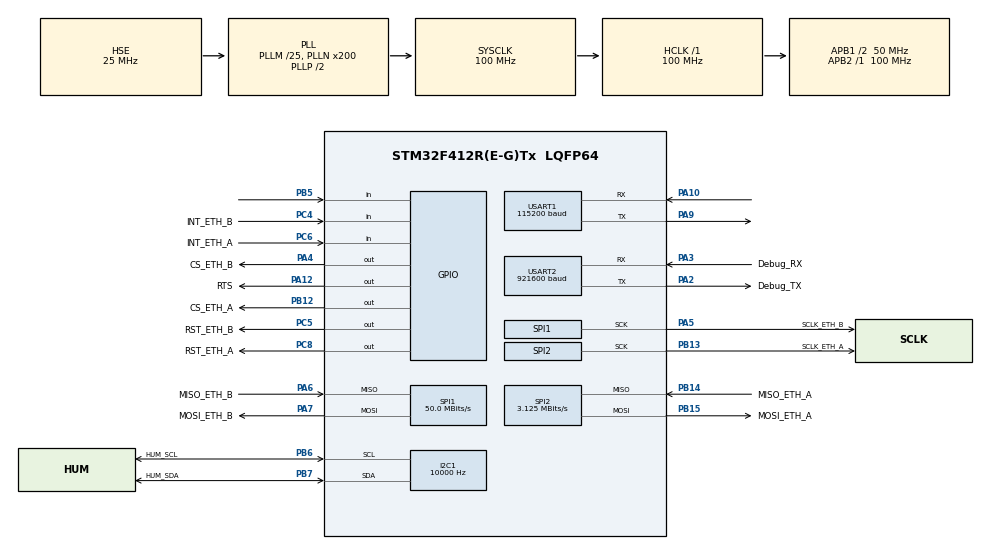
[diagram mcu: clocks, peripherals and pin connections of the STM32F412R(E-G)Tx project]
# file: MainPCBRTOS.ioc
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Dma.Request0=SPI2_RX
Dma.Request1=SPI1_RX
Dma.Request2=USART1_RX
Dma.SPI1_RX.1.Direction=DMA_PERIPH_TO_MEMORY
Dma.SPI1_RX.1.FIFOMode=DMA_FIFOMODE_DISABLE
Dma.SPI1_RX.1.Instance=DMA2_Stream0
Dma.SPI1_RX.1.MemDataAlignment=DMA_MDATAALIGN_BYTE
Dma.SPI1_RX.1.MemInc=DMA_MINC_ENABLE
Dma.SPI1_RX.1.Mode=DMA_NORMAL
Dma.SPI1_RX.1.PeriphDataAlignment=DMA_PDATAALIGN_BYTE
Dma.SPI1_RX.1.PeriphInc=DMA_PINC_DISABLE
Dma.SPI1_RX.1.Priority=DMA_PRIORITY_LOW
Dma.SPI2_RX.0.Direction=DMA_PERIPH_TO_MEMORY
Dma.SPI2_RX.0.FIFOMode=DMA_FIFOMODE_DISABLE
Dma.SPI2_RX.0.Instance=DMA1_Stream3
Dma.SPI2_RX.0.MemDataAlignment=DMA_MDATAALIGN_BYTE
Dma.SPI2_RX.0.MemInc=DMA_MINC_ENABLE
Dma.SPI2_RX.0.Mode=DMA_NORMAL
Dma.SPI2_RX.0.PeriphDataAlignment=DMA_PDATAALIGN_BYTE
Dma.SPI2_RX.0.PeriphInc=DMA_PINC_DISABLE
Dma.SPI2_RX.0.Priority=DMA_PRIORITY_LOW
Dma.USART1_RX.2.Direction=DMA_PERIPH_TO_MEMORY
Dma.USART1_RX.2.FIFOMode=DMA_FIFOMODE_DISABLE
Dma.USART1_RX.2.Instance=DMA2_Stream2
Dma.USART1_RX.2.MemDataAlignment=DMA_MDATAALIGN_BYTE
Dma.USART1_RX.2.MemInc=DMA_MINC_ENABLE
Dma.USART1_RX.2.Mode=DMA_CIRCULAR
Dma.USART1_RX.2.PeriphDataAlignment=DMA_PDATAALIGN_BYTE
Dma.USART1_RX.2.PeriphInc=DMA_PINC_DISABLE
Dma.USART1_RX.2.Priority=DMA_PRIORITY_LOW
FREERTOS.Tasks01=LMS,48,2048,StartLMS,Default,NULL,Dynamic,NULL,NULL;IO,16,2048,StartIO,Default,NULL,Dynamic,NULL,NULL;HUM,8,2048,StartHUM,Default,NULL,Dynamic,NULL,NULL
FREERTOS.configENABLE_FPU=1
FREERTOS.configMINIMAL_STACK_SIZE=2048
FREERTOS.configTOTAL_HEAP_SIZE=40000
FREERTOS.configUSE_NEWLIB_REENTRANT=1
I2C1.ClockSpeed=10000
I2C1.DualAddressMode=I2C_DUALADDRESS_DISABLE
I2C1.GeneralCallMode=I2C_GENERALCALL_DISABLE
I2C1.I2C_Mode=I2C_Standard
I2C1.OwnAddress=0
Mcu.Family=STM32F4
Mcu.Name=STM32F412R(E-G)Tx
Mcu.Package=LQFP64
NVIC.DMA1_Stream3_IRQn=true\:5\:0\:false\:false\:true\:true\:false\:true\:true
NVIC.DMA2_Stream0_IRQn=true\:5\:0\:false\:false\:true\:true\:false\:true\:true
NVIC.DMA2_Stream2_IRQn=true\:5\:0\:false\:false\:true\:true\:false\:true\:true
NVIC.PriorityGroup=NVIC_PRIORITYGROUP_4
NVIC.TIM2_IRQn=true\:15\:0\:false\:false\:true\:false\:false\:true\:true
NVIC.TimeBase=TIM2_IRQn
NVIC.TimeBaseIP=TIM2
PA10.Mode=Asynchronous
PA10.Signal=USART1_RX
PA12.GPIO_Label=RTS
PA12.GPIO_PuPd=GPIO_NOPULL
PA12.GPIO_Speed=GPIO_SPEED_FREQ_HIGH
PA12.PinState=GPIO_PIN_SET
PA12.Signal=GPIO_Output
PA13.Mode=JTAG_5_pins
PA13.Signal=SYS_JTMS-SWDIO
PA14.Mode=JTAG_5_pins
PA14.Signal=SYS_JTCK-SWCLK
PA15.Mode=JTAG_5_pins
PA15.Signal=SYS_JTDI
PA2.GPIO_Label=Debug_TX
PA2.Mode=Asynchronous
PA2.Signal=USART2_TX
PA3.GPIO_Label=Debug_RX
PA3.Mode=Asynchronous
PA3.Signal=USART2_RX
PA4.GPIO_Label=CS_ETH_B
PA4.Signal=GPIO_Output
PA5.GPIO_Label=SCLK_ETH_B
PA5.Mode=Full_Duplex_Master
PA5.Signal=SPI1_SCK
PA6.GPIO_Label=MISO_ETH_B
PA6.Mode=Full_Duplex_Master
PA6.Signal=SPI1_MISO
PA7.GPIO_Label=MOSI_ETH_B
PA7.Mode=Full_Duplex_Master
PA7.Signal=SPI1_MOSI
PA9.Mode=Asynchronous
PA9.Signal=USART1_TX
PB12.GPIO_Label=CS_ETH_A
PB12.Signal=GPIO_Output
PB13.GPIO_Label=SCLK_ETH_A
PB13.Mode=Full_Duplex_Master
PB13.Signal=SPI2_SCK
PB14.GPIO_Label=MISO_ETH_A
PB14.Mode=Full_Duplex_Master
PB14.Signal=SPI2_MISO
PB15.GPIO_Label=MOSI_ETH_A
PB15.Mode=Full_Duplex_Master
PB15.Signal=SPI2_MOSI
PB3.Mode=JTAG_5_pins
PB3.Signal=SYS_JTDO-SWO
PB4.Mode=JTAG_5_pins
PB4.Signal=SYS_JTRST
PB5.Signal=GPIO_Input
PB6.GPIO_Label=HUM_SCL
PB6.GPIO_Pu=GPIO_PULLUP
PB6.GPIO_Speed=GPIO_SPEED_FREQ_MEDIUM
PB6.Mode=I2C
PB6.Signal=I2C1_SCL
PB7.GPIO_Label=HUM_SDA
PB7.GPIO_Pu=GPIO_PULLUP
PB7.GPIO_Speed=GPIO_SPEED_FREQ_MEDIUM
PB7.Mode=I2C
PB7.Signal=I2C1_SDA
PC14-OSC32_IN.Mode=LSE-External-Oscillator
PC14-OSC32_IN.Signal=RCC_OSC32_IN
PC15-OSC32_OUT.Mode=LSE-External-Oscillator
PC15-OSC32_OUT.Signal=RCC_OSC32_OUT
PC4.GPIO_Label=INT_ETH_B
PC4.GPIO_PuPd=GPIO_PULLDOWN
PC4.Signal=GPIO_Input
PC5.GPIO_Label=RST_ETH_B
PC5.Signal=GPIO_Output
PC6.GPIO_Label=INT_ETH_A
PC6.Signal=GPIO_Input
PC8.GPIO_Label=RST_ETH_A
PC8.Signal=GPIO_Output
PH0\ -\ OSC_IN.Mode=HSE-External-Oscillator
PH0\ -\ OSC_IN.Signal=RCC_OSC_IN
PH1\ -\ OSC_OUT.Mode=HSE-External-Oscillator
PH1\ -\ OSC_OUT.Signal=RCC_OSC_OUT
ProjectManager.HeapSize=0x200
ProjectManager.StackSize=0x400
ProjectManager.TargetToolchain=STM32CubeIDE
RCC.AHBFreq_Value=100000000
RCC.APB1CLKDivider=RCC_HCLK_DIV2
RCC.APB1Freq_Value=50000000
RCC.APB1TimFreq_Value=100000000
RCC.APB2Freq_Value=100000000
RCC.APB2TimFreq_Value=100000000
RCC.CortexFreq_Value=100000000
RCC.EnbaleCSS=true
RCC.HCLKFreq_Value=100000000
RCC.HSE_VALUE=25000000
RCC.PLLI2SM=15
RCC.PLLI2SN=144
RCC.PLLI2SP=RCC_PLLI2SP_DIV4
RCC.PLLI2SQ=5
RCC.PLLM=25
RCC.PLLN=200
RCC.PLLSourceVirtual=RCC_PLLSOURCE_HSE
RCC.SYSCLKFreq_VALUE=100000000
RCC.SYSCLKSource=RCC_SYSCLKSOURCE_PLLCLK
RCC.USBCLockSelection=RCC_CLK48CLKSOURCE_PLLI2SQ
RCC.USBFreq_Value=48000000
RCC.VCOOutputFreq_Value=200000000
SPI1.BaudRatePrescaler=SPI_BAUDRATEPRESCALER_2
SPI1.CLKPhase=SPI_PHASE_1EDGE
SPI1.CLKPolarity=SPI_POLARITY_LOW
SPI1.CalculateBaudRate=50.0 MBits/s
SPI1.Direction=SPI_DIRECTION_2LINES
SPI1.Mode=SPI_MODE_MASTER
SPI1.VirtualType=VM_MASTER
SPI2.BaudRatePrescaler=SPI_BAUDRATEPRESCALER_16
SPI2.CalculateBaudRate=3.125 MBits/s
SPI2.Direction=SPI_DIRECTION_2LINES
SPI2.Mode=SPI_MODE_MASTER
SPI2.VirtualType=VM_MASTER
USART1.BaudRate=115200
USART1.VirtualMode=VM_ASYNC
USART2.BaudRate=921600
USART2.VirtualMode=VM_ASYNC
VP_FREERTOS_VS_CMSIS_V2.Mode=CMSIS_V2
VP_SYS_VS_tim2.Mode=TIM2
board=custom

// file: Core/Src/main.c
/* USER CODE BEGIN Header */
/**
  ******************************************************************************
  * @file           : main.c
  * @brief          : Main program body
  ******************************************************************************
  * @attention
  *
  * Copyright (c) 2022 STMicroelectronics.
  * All rights reserved.
  *
  * This software is licensed under terms that can be found in the LICENSE file
  * in the root directory of this software component.
  * If no LICENSE file comes with this software, it is provided AS-IS.
  *
  ******************************************************************************
  */
/* USER CODE END Header */
#include "main.h"
#include "cmsis_os.h"

/* USER CODE BEGIN Includes */
#include "socket.h"
#include "wizchip_conf.h"
#include "w5500.h"
#include "w5500_spi.h"
#include "FLASH_SECTOR_F4.h"
#include <string.h>
#include <stdio.h>
#include <stdlib.h>
#include <math.h>
/* USER CODE END Includes */

/* USER CODE BEGIN PTD */
struct lengthPoint{
	uint8_t lengthStep;
	uint32_t ticks[500];
};

struct rock{
	uint16_t startPointX;
	uint16_t endPointX;
	struct lengthPoint lengthS;
	int width;
	int length;
	int height;
};

struct rock rck[5];
/* USER CODE END PTD */

/* USER CODE BEGIN PD */
#define CLOCK 							100000000 //in Hertz

#define PI								3.142857
#define CORRECTION						2.5

#define PORT							30189
#define NMEA							"$PRSCD"
#define DATAPOINTMAX					512

#define TELEGRAM_LOGIN					"sMN SetAccessMode 04 81BE23AA"
#define TELEGRAM_SETSCAN_ONE			"sMN mLMPsetscancfg"
#define TELEGRAM_SETSCAN_TWO			"1"
#define TELEGRAM_SETSCAN_THREE			"FFF92230 225510"
#define TELEGRAM_OUTPUT_ONE				"sWN LMPoutputRange 1 9C4"
#define TELEGRAM_CONFIGURE_FOUR			"sWN LFPmeanfilter 0 +3 0"
#define TELEGRAM_STORE					"sMN mEEwriteall"
#define TELEGRAM_LOGOUT					"sMN Run"
#define TELEGRAM_DEVICESTATE			"sRN SCdevicestate"
#define TELEGRAM_REBOOT					"sMN mSCreboot"
#define TELEGRAM_SCAN_ONE	 			"sRN LMDscandata"

//Flash memory allocations
#define FLASH_SPEED						0x08021000
#define FLASH_PARAMETER					0x08041000

#define THRESHOLD						1340 //in millimeters
#define BELT							1410 //in millimeters
#define MAX_DIFFERENCE_X				5
#define MAX_DIFFERENCE_Y				15

#define SHT31_ADDR	0x44<<1
/* USER CODE END PD */

I2C_HandleTypeDef hi2c1;

SPI_HandleTypeDef hspi1;
SPI_HandleTypeDef hspi2;
DMA_HandleTypeDef hdma_spi1_rx;
DMA_HandleTypeDef hdma_spi2_rx;

UART_HandleTypeDef huart1;
UART_HandleTypeDef huart2;
DMA_HandleTypeDef hdma_usart1_rx;

/* Definitions for LMS */
osThreadId_t LMSHandle;
const osThreadAttr_t LMS_attributes = {
  .name = "LMS",
  .stack_size = 2048 * 4,
  .priority = (osPriority_t) osPriorityRealtime,
};
/* Definitions for IO */
osThreadId_t IOHandle;
const osThreadAttr_t IO_attributes = {
  .name = "IO",
  .stack_size = 2048 * 4,
  .priority = (osPriority_t) osPriorityBelowNormal,
};
/* Definitions for HUM */
osThreadId_t HUMHandle;
const osThreadAttr_t HUM_attributes = {
  .name = "HUM",
  .stack_size = 2048 * 4,
  .priority = (osPriority_t) osPriorityLow,
};
/* USER CODE BEGIN PV */
const uint8_t LMS_IP[4] = {169, 254, 19, 239};
const uint8_t IO_IP[4] = {10, 16, 6, 213};

uint8_t LMS_recv[3000];
uint8_t LMS_buf[100];

uint8_t IO_recv[100];
uint8_t IO_buf[100];

uint8_t MEAS_data[100];

HAL_StatusTypeDef ret;
int retValIO;
int retVal;

int humAlertOne = 0; //Alert hum
int humAlertTwo = 0;
float measAmpMax;
float measFreq;
float measTemp;

unsigned int startAngle;
unsigned int endAngle;
float resolution;
unsigned int freq;
unsigned int speed;

float flashRead[4];

uint8_t lock = 0;
/* USER CODE END PV */

void SystemClock_Config(void);
static void MX_GPIO_Init(void);
static void MX_DMA_Init(void);
static void MX_USART2_UART_Init(void);
static void MX_I2C1_Init(void);
static void MX_SPI1_Init(void);
static void MX_SPI2_Init(void);
static void MX_USART1_UART_Init(void);
void StartLMS(void *argument);
void StartIO(void *argument);
void StartHUM(void *argument);

int main(void)
{
  /* USER CODE BEGIN 1 */
  //Read the flash for the parameters needed for the algorithm
  Flash_Read_Data(FLASH_PARAMETER, (uint32_t *)flashRead, sizeof(flashRead));
  startAngle = flashRead[0];
  endAngle = flashRead[1];
  resolution = flashRead[2];
  freq = flashRead[3];
  speed = Flash_Read_NUM(FLASH_SPEED);
  /* USER CODE END 1 */

  /* MCU Configuration--------------------------------------------------------*/

  /* Reset of all peripherals, Initializes the Flash interface and the Systick. */
  HAL_Init();

  /* Configure the system clock */
  SystemClock_Config();

  /* Initialize all configured peripherals */
  MX_GPIO_Init();
  MX_DMA_Init();
  MX_USART2_UART_Init();
  MX_I2C1_Init();
  MX_SPI1_Init();
  MX_SPI2_Init();
  MX_USART1_UART_Init();
  /* USER CODE BEGIN 2 */
  //initialize the W5500 Ethernet controller
  W5500Init();

  //initialize humidity module
  if((ret = HAL_I2C_IsDeviceReady(&hi2c1, SHT31_ADDR, 1, HAL_MAX_DELAY)) != HAL_OK){
	  //error handler
	  while(1);
  }

  //initialize Ethernet module for IO-server
  reg_wizchip_cs_cbfunc(wizchip2_select, wizchip2_deselect);
  if((retValIO = socket(1, Sn_MR_UDP, PORT, SF_IO_NONBLOCK)) != 1){
	  //error handler
	  while(1);
  }

  //Start DMA for UART communication with measurement PCB
  HAL_UART_Receive_DMA(&huart1, MEAS_data, 22);
  /* USER CODE END 2 */

  /* Init scheduler */
  osKernelInitialize();
/* USER CODE BEGIN Header */
/**
  ******************************************************************************
  * @file           : main.c
  * @brief          : Main program body
  ******************************************************************************
  * @attention
  *
  * Copyright (c) 2022 STMicroelectronics.
  * All rights reserved.
  *
  * This software is licensed under terms that can be found in the LICENSE file
  * in the root directory of this software component.
  * If no LICENSE file comes with this software, it is provided AS-IS.
  *
  ******************************************************************************
  */
/* USER CODE END Header */

  /* Start scheduler */
  osKernelStart();

  /* We should never get here as control is now taken by the scheduler */
  /* Infinite loop */
  while (1)
  {

  }
}

void SystemClock_Config(void)
{
  RCC_OscInitTypeDef RCC_OscInitStruct = {0};
  RCC_ClkInitTypeDef RCC_ClkInitStruct = {0};

  /** Configure the main internal regulator output voltage
  */
  __HAL_RCC_PWR_CLK_ENABLE();
  __HAL_PWR_VOLTAGESCALING_CONFIG(PWR_REGULATOR_VOLTAGE_SCALE1);

  /** Initializes the RCC Oscillators according to the specified parameters
  * in the RCC_OscInitTypeDef structure.
  */
  RCC_OscInitStruct.OscillatorType = RCC_OSCILLATORTYPE_HSE;
  RCC_OscInitStruct.HSEState = RCC_HSE_ON;
  RCC_OscInitStruct.PLL.PLLState = RCC_PLL_ON;
  RCC_OscInitStruct.PLL.PLLSource = RCC_PLLSOURCE_HSE;
  RCC_OscInitStruct.PLL.PLLM = 25;
  RCC_OscInitStruct.PLL.PLLN = 200;
  RCC_OscInitStruct.PLL.PLLP = RCC_PLLP_DIV2;
  RCC_OscInitStruct.PLL.PLLQ = 2;
  RCC_OscInitStruct.PLL.PLLR = 2;
  if (HAL_RCC_OscConfig(&RCC_OscInitStruct) != HAL_OK)
  {
    Error_Handler();
  }

  /** Initializes the CPU, AHB and APB buses clocks
  */
  RCC_ClkInitStruct.ClockType = RCC_CLOCKTYPE_HCLK|RCC_CLOCKTYPE_SYSCLK
                              |RCC_CLOCKTYPE_PCLK1|RCC_CLOCKTYPE_PCLK2;
  RCC_ClkInitStruct.SYSCLKSource = RCC_SYSCLKSOURCE_PLLCLK;
  RCC_ClkInitStruct.AHBCLKDivider = RCC_SYSCLK_DIV1;
  RCC_ClkInitStruct.APB1CLKDivider = RCC_HCLK_DIV2;
  RCC_ClkInitStruct.APB2CLKDivider = RCC_HCLK_DIV1;

  if (HAL_RCC_ClockConfig(&RCC_ClkInitStruct, FLASH_LATENCY_3) != HAL_OK)
  {
    Error_Handler();
  }

  /** Enables the Clock Security System
  */
  HAL_RCC_EnableCSS();
}

static void MX_I2C1_Init(void)
{

  hi2c1.Instance = I2C1;
  hi2c1.Init.ClockSpeed = 10000;
  hi2c1.Init.DutyCycle = I2C_DUTYCYCLE_2;
  hi2c1.Init.OwnAddress1 = 0;
  hi2c1.Init.AddressingMode = I2C_ADDRESSINGMODE_7BIT;
  hi2c1.Init.DualAddressMode = I2C_DUALADDRESS_DISABLE;
  hi2c1.Init.OwnAddress2 = 0;
  hi2c1.Init.GeneralCallMode = I2C_GENERALCALL_DISABLE;
  hi2c1.Init.NoStretchMode = I2C_NOSTRETCH_DISABLE;
  if (HAL_I2C_Init(&hi2c1) != HAL_OK)
  {
    Error_Handler();
  }

}

static void MX_SPI1_Init(void)
{

  /* SPI1 parameter configuration*/
  hspi1.Instance = SPI1;
  hspi1.Init.Mode = SPI_MODE_MASTER;
  hspi1.Init.Direction = SPI_DIRECTION_2LINES;
  hspi1.Init.DataSize = SPI_DATASIZE_8BIT;
  hspi1.Init.CLKPolarity = SPI_POLARITY_LOW;
  hspi1.Init.CLKPhase = SPI_PHASE_1EDGE;
  hspi1.Init.NSS = SPI_NSS_SOFT;
  hspi1.Init.BaudRatePrescaler = SPI_BAUDRATEPRESCALER_2;
  hspi1.Init.FirstBit = SPI_FIRSTBIT_MSB;
  hspi1.Init.TIMode = SPI_TIMODE_DISABLE;
  hspi1.Init.CRCCalculation = SPI_CRCCALCULATION_DISABLE;
  hspi1.Init.CRCPolynomial = 10;
  if (HAL_SPI_Init(&hspi1) != HAL_OK)
  {
    Error_Handler();
  }

}

static void MX_SPI2_Init(void)
{

  /* SPI2 parameter configuration*/
  hspi2.Instance = SPI2;
  hspi2.Init.Mode = SPI_MODE_MASTER;
  hspi2.Init.Direction = SPI_DIRECTION_2LINES;
  hspi2.Init.DataSize = SPI_DATASIZE_8BIT;
  hspi2.Init.CLKPolarity = SPI_POLARITY_LOW;
  hspi2.Init.CLKPhase = SPI_PHASE_1EDGE;
  hspi2.Init.NSS = SPI_NSS_SOFT;
  hspi2.Init.BaudRatePrescaler = SPI_BAUDRATEPRESCALER_16;
  hspi2.Init.FirstBit = SPI_FIRSTBIT_MSB;
  hspi2.Init.TIMode = SPI_TIMODE_DISABLE;
  hspi2.Init.CRCCalculation = SPI_CRCCALCULATION_DISABLE;
  hspi2.Init.CRCPolynomial = 10;
  if (HAL_SPI_Init(&hspi2) != HAL_OK)
  {
    Error_Handler();
  }

}

static void MX_USART1_UART_Init(void)
{

  huart1.Instance = USART1;
  huart1.Init.BaudRate = 115200;
  huart1.Init.WordLength = UART_WORDLENGTH_8B;
  huart1.Init.StopBits = UART_STOPBITS_1;
  huart1.Init.Parity = UART_PARITY_NONE;
  huart1.Init.Mode = UART_MODE_TX_RX;
  huart1.Init.HwFlowCtl = UART_HWCONTROL_NONE;
  huart1.Init.OverSampling = UART_OVERSAMPLING_16;
  if (HAL_UART_Init(&huart1) != HAL_OK)
  {
    Error_Handler();
  }

}

static void MX_USART2_UART_Init(void)
{

  huart2.Instance = USART2;
  huart2.Init.BaudRate = 921600;
  huart2.Init.WordLength = UART_WORDLENGTH_8B;
  huart2.Init.StopBits = UART_STOPBITS_1;
  huart2.Init.Parity = UART_PARITY_NONE;
  huart2.Init.Mode = UART_MODE_TX_RX;
  huart2.Init.HwFlowCtl = UART_HWCONTROL_NONE;
  huart2.Init.OverSampling = UART_OVERSAMPLING_16;
  if (HAL_UART_Init(&huart2) != HAL_OK)
  {
    Error_Handler();
  }

}

static void MX_DMA_Init(void)
{

  /* DMA controller clock enable */
  __HAL_RCC_DMA1_CLK_ENABLE();
  __HAL_RCC_DMA2_CLK_ENABLE();

  /* DMA interrupt init */
  /* DMA1_Stream3_IRQn interrupt configuration */
  HAL_NVIC_SetPriority(DMA1_Stream3_IRQn, 5, 0);
  HAL_NVIC_EnableIRQ(DMA1_Stream3_IRQn);
  /* DMA2_Stream0_IRQn interrupt configuration */
  HAL_NVIC_SetPriority(DMA2_Stream0_IRQn, 5, 0);
  HAL_NVIC_EnableIRQ(DMA2_Stream0_IRQn);
  /* DMA2_Stream2_IRQn interrupt configuration */
  HAL_NVIC_SetPriority(DMA2_Stream2_IRQn, 5, 0);
  HAL_NVIC_EnableIRQ(DMA2_Stream2_IRQn);

}

static void MX_GPIO_Init(void)
{
  GPIO_InitTypeDef GPIO_InitStruct = {0};

  /* GPIO Ports Clock Enable */
  __HAL_RCC_GPIOC_CLK_ENABLE();
  __HAL_RCC_GPIOH_CLK_ENABLE();
  __HAL_RCC_GPIOA_CLK_ENABLE();
  __HAL_RCC_GPIOB_CLK_ENABLE();
  __HAL_RCC_GPIOD_CLK_ENABLE();

  /*Configure GPIO pin Output Level */
  HAL_GPIO_WritePin(CS_ETH_B_GPIO_Port, CS_ETH_B_Pin, GPIO_PIN_RESET);

  /*Configure GPIO pin Output Level */
  HAL_GPIO_WritePin(GPIOC, RST_ETH_B_Pin|RST_ETH_A_Pin, GPIO_PIN_RESET);

  /*Configure GPIO pin Output Level */
  HAL_GPIO_WritePin(CS_ETH_A_GPIO_Port, CS_ETH_A_Pin, GPIO_PIN_RESET);

  /*Configure GPIO pin Output Level */
  HAL_GPIO_WritePin(RTS_GPIO_Port, RTS_Pin, GPIO_PIN_SET);

  /*Configure GPIO pins : PC13 PC0 PC1 PC2
                           PC3 PC7 PC9 PC10
                           PC11 PC12 */
  GPIO_InitStruct.Pin = GPIO_PIN_13|GPIO_PIN_0|GPIO_PIN_1|GPIO_PIN_2
                          |GPIO_PIN_3|GPIO_PIN_7|GPIO_PIN_9|GPIO_PIN_10
                          |GPIO_PIN_11|GPIO_PIN_12;
  GPIO_InitStruct.Mode = GPIO_MODE_ANALOG;
  GPIO_InitStruct.Pull = GPIO_NOPULL;
  HAL_GPIO_Init(GPIOC, &GPIO_InitStruct);

  /*Configure GPIO pins : PA0 PA1 PA8 PA11 */
  GPIO_InitStruct.Pin = GPIO_PIN_0|GPIO_PIN_1|GPIO_PIN_8|GPIO_PIN_11;
  GPIO_InitStruct.Mode = GPIO_MODE_ANALOG;
  GPIO_InitStruct.Pull = GPIO_NOPULL;
  HAL_GPIO_Init(GPIOA, &GPIO_InitStruct);

  /*Configure GPIO pin : CS_ETH_B_Pin */
  GPIO_InitStruct.Pin = CS_ETH_B_Pin;
  GPIO_InitStruct.Mode = GPIO_MODE_OUTPUT_PP;
  GPIO_InitStruct.Pull = GPIO_NOPULL;
  GPIO_InitStruct.Speed = GPIO_SPEED_FREQ_LOW;
  HAL_GPIO_Init(CS_ETH_B_GPIO_Port, &GPIO_InitStruct);

  /*Configure GPIO pin : INT_ETH_B_Pin */
  GPIO_InitStruct.Pin = INT_ETH_B_Pin;
  GPIO_InitStruct.Mode = GPIO_MODE_INPUT;
  GPIO_InitStruct.Pull = GPIO_PULLDOWN;
  HAL_GPIO_Init(INT_ETH_B_GPIO_Port, &GPIO_InitStruct);

  /*Configure GPIO pins : RST_ETH_B_Pin RST_ETH_A_Pin */
  GPIO_InitStruct.Pin = RST_ETH_B_Pin|RST_ETH_A_Pin;
  GPIO_InitStruct.Mode = GPIO_MODE_OUTPUT_PP;
  GPIO_InitStruct.Pull = GPIO_NOPULL;
  GPIO_InitStruct.Speed = GPIO_SPEED_FREQ_LOW;
  HAL_GPIO_Init(GPIOC, &GPIO_InitStruct);

  /*Configure GPIO pins : PB0 PB1 PB2 PB10
                           PB8 PB9 */
  GPIO_InitStruct.Pin = GPIO_PIN_0|GPIO_PIN_1|GPIO_PIN_2|GPIO_PIN_10
                          |GPIO_PIN_8|GPIO_PIN_9;
  GPIO_InitStruct.Mode = GPIO_MODE_ANALOG;
  GPIO_InitStruct.Pull = GPIO_NOPULL;
  HAL_GPIO_Init(GPIOB, &GPIO_InitStruct);

  /*Configure GPIO pin : CS_ETH_A_Pin */
  GPIO_InitStruct.Pin = CS_ETH_A_Pin;
  GPIO_InitStruct.Mode = GPIO_MODE_OUTPUT_PP;
  GPIO_InitStruct.Pull = GPIO_NOPULL;
  GPIO_InitStruct.Speed = GPIO_SPEED_FREQ_LOW;
  HAL_GPIO_Init(CS_ETH_A_GPIO_Port, &GPIO_InitStruct);

  /*Configure GPIO pin : INT_ETH_A_Pin */
  GPIO_InitStruct.Pin = INT_ETH_A_Pin;
  GPIO_InitStruct.Mode = GPIO_MODE_INPUT;
  GPIO_InitStruct.Pull = GPIO_NOPULL;
  HAL_GPIO_Init(INT_ETH_A_GPIO_Port, &GPIO_InitStruct);

  /*Configure GPIO pin : RTS_Pin */
  GPIO_InitStruct.Pin = RTS_Pin;
  GPIO_InitStruct.Mode = GPIO_MODE_OUTPUT_PP;
  GPIO_InitStruct.Pull = GPIO_NOPULL;
  GPIO_InitStruct.Speed = GPIO_SPEED_FREQ_HIGH;
  HAL_GPIO_Init(RTS_GPIO_Port, &GPIO_InitStruct);

  /*Configure GPIO pin : PD2 */
  GPIO_InitStruct.Pin = GPIO_PIN_2;
  GPIO_InitStruct.Mode = GPIO_MODE_ANALOG;
  GPIO_InitStruct.Pull = GPIO_NOPULL;
  HAL_GPIO_Init(GPIOD, &GPIO_InitStruct);

  /*Configure GPIO pin : PB5 */
  GPIO_InitStruct.Pin = GPIO_PIN_5;
  GPIO_InitStruct.Mode = GPIO_MODE_INPUT;
  GPIO_InitStruct.Pull = GPIO_NOPULL;
  HAL_GPIO_Init(GPIOB, &GPIO_InitStruct);

}

/* USER CODE BEGIN 4 */
void HAL_UART_RxCpltCallback(UART_HandleTypeDef *huart){
  HAL_UART_Receive_DMA(&huart1, MEAS_data, 22);
  sscanf((char *)MEAS_data, "%f,%f,%f,%d", &measAmpMax, &measFreq, &measTemp, &humAlertTwo);
}
/* USER CODE END 4 */

void StartLMS(void *argument)
{
  /* USER CODE BEGIN 5 */
  uint16_t LMS_measData[DATAPOINTMAX];
  int16_t LMS_calcDataX[DATAPOINTMAX];
  int16_t LMS_calcDataY[DATAPOINTMAX];
  uint8_t LMS_dataRawAmount[4] = {0, 0, 0, 0};
  uint16_t LMS_dataAmount = 0;
  uint8_t LMS_dataRaw[4] = {0, 0, 0, 0};
  uint16_t LMS_data = 0;
  uint8_t LMS_commaCounter = 0;
  uint16_t LMS_measArray[DATAPOINTMAX];
  uint16_t i = 0;

  uint8_t status = 0;
  uint8_t statusTwo = 0;
  uint8_t statusThree = 0;
  uint8_t statusThreeCounter = 0;
  uint8_t rockCount = 0;
  int16_t LMS_dataArrayX[DATAPOINTMAX];
  int16_t LMS_dataArrayY[DATAPOINTMAX];
  int16_t startWidth = 0;
  int16_t endWidth = 0;
  uint16_t heightTemp = 0;
  uint16_t widthTemp = 0;
  uint8_t heightCounter = 0;

  float angle;

  uint8_t xAxisControl = 0;
  uint8_t rckControl = 0;

//uint8_t UART_buf[50];

  uint32_t start = 0;
  uint32_t stop = 0;
  uint32_t delta = 0;
  /* Infinite loop */
  for(;;)
  {
	if(lock == 0){
		//Timer for distance calculation
		stop  = HAL_GetTick();
		delta = stop - start;
		start = HAL_GetTick();
		reg_wizchip_cs_cbfunc(wizchip1_select, wizchip1_deselect);
		if((retVal = socket(0, Sn_MR_TCP, 0, 0)) == 0){
			if((retVal = connect(0, (uint8_t *)LMS_IP, 2111)) == SOCK_OK){ //Open socket with LMS
				  sprintf((char *)LMS_buf, "%c%s%c", 0x02, TELEGRAM_SCAN_ONE, 0x03); //Create telegram to be sent to LMS (Ask for one)
				  reg_wizchip_cs_cbfunc(wizchip1_select, wizchip1_deselect);
				  if((retVal = send(0, (uint8_t *)LMS_buf, strlen(LMS_buf))) <= 0){ //Send the Telegram to LMS
					  //error handler
					  for(;;);
				  }
				  if((retVal = recv(0, LMS_recv, sizeof(LMS_recv))) <= 0){ //Receive the telegram message from the LMS
					  //error handler
					  for(;;);
				  }
				  disconnect(0);
				  close(0);
				  for(int j = 0; j <= retVal-1; j++){
					  if(LMS_recv[j] == 0x20){
						  //Each data point counted after a comma
						  LMS_commaCounter++;
					  }
					  if(LMS_commaCounter == 25){
						  //on the 25th data point, the data amount can be found
						  j++;
						  while(LMS_recv[j] != 0x20){
							  LMS_dataRawAmount[i++] = LMS_recv[j++];
						  }
						  j--;
						  i = 0;
						  LMS_dataAmount = strtol((char *)LMS_dataRawAmount, NULL, 16);
					  } else if(LMS_commaCounter == 26){ //convert all the data point to single integers in an array
						  for(int x = 0; x <= LMS_dataAmount-1; x++){
							  j++;
							  while(LMS_recv[j] != 0x20){
								  LMS_dataRaw[i++] = LMS_recv[j++];
							  }
							  LMS_commaCounter++;
							  i = 0;
							  LMS_data = strtol((char *)LMS_dataRaw, NULL, 16);
							  for(int z = 0; z <= 3; z++){
								  LMS_dataRaw[z] = 0;
							  }
							  LMS_measData[x] = LMS_data;
						  }
						  j--;
					  } else if(LMS_recv[j] == 0x03){
						  LMS_commaCounter = 0;
						  //Start the algorithm
						  /* Filter */

						  /* Polar to Cartesian */
						  angle = startAngle+CORRECTION;
						  for(int x = 0; x <= LMS_dataAmount-1; x++){
							  //From Polar coordinates to cartesian coordinates.
							  LMS_calcDataX[x] = LMS_measData[x]*cos((angle*PI)/180);
							  LMS_calcDataY[x] = LMS_measData[x]*sin((angle*PI)/180);
							  angle = angle + resolution;
							  if(LMS_calcDataY[x] < THRESHOLD){
								  //Only take data below the given threshold.
								  LMS_dataArrayX[x] = LMS_calcDataX[x];
								  LMS_dataArrayY[x] = LMS_calcDataY[x];
								  LMS_measArray[x] = LMS_measData[x];
							  } else {
								  //everything else zero.
								  LMS_dataArrayX[x] = 0;
								  LMS_dataArrayY[x] = 0;
								  LMS_measArray[x] = 0;
							  }
						  }
						  /* Determine rocks */
						  for(int x = 0; x <= LMS_dataAmount-1; x++){
							  /* check rock points (X axis only)*/
							  if(LMS_measArray[x] != 0 && status == 0){
								  startWidth = LMS_dataArrayX[x];
								  if(rck[rockCount].startPointX > 0){//check if previous measurement already detected rock and calculate the length which will gradually add up
									  //check if this rck struct isn't filled with another parameter from another rock.

									  //check if the axis don't differentiate too much
									  if(rck[rockCount].startPointX <= x+MAX_DIFFERENCE_X && rck[rockCount].startPointX >= x-MAX_DIFFERENCE_X){
										  rck[rockCount].startPointX = x;
										  rck[rockCount].lengthS.lengthStep++;
										  rck[rockCount].lengthS.ticks[rck[rockCount].lengthS.lengthStep] = delta;
										  xAxisControl = 0;
									  } else { //If so than save it and wait till the algorithm checks for the next end, if it also differentiate too much
										  if(xAxisControl == 2){//if both end differentiate too much then reset PointX values and calculate the final length and height
											  rck[rockCount].startPointX = 0;
											  rck[rockCount].endPointX = 0;
										  } else {//if only one end differentiate too much, it is consider still as one rock. the measurement continues
											  xAxisControl = 1;
											  rck[rockCount].startPointX = x;
										  }
									  }
								  } else {//If not then start new rock measurement
									  rck[rockCount].startPointX = x;
									  do{
										  //compare the value with the other values to check if there is an shift in rocks.
										  if(rockCount != rckControl){
											  if(rck[rckControl].startPointX <= rck[rockCount].startPointX+MAX_DIFFERENCE_X && rck[rckControl].startPointX >= rck[rockCount].startPointX+MAX_DIFFERENCE_X){
												  rck[rckControl].startPointX = x;
												  rck[rckControl].lengthS.lengthStep++;
												  rck[rckControl].lengthS.ticks[rck[rockCount].lengthS.lengthStep] = delta;
												  break;
											  }
										  }
										  rckControl++;
									  }while(rckControl <= 4);
									  if(rckControl >= 5){
										  rck[rockCount].startPointX = x;
										  rck[rockCount].lengthS.lengthStep++;
										  rck[rockCount].lengthS.ticks[rck[rockCount].lengthS.lengthStep] = delta;
									  }
									  rckControl = 0;
								  }
								  status++;
							  } else if(LMS_measArray[x] == 0 && status != 0){
								  x--;
								  endWidth = LMS_dataArrayX[x];
								  if(rck[rockCount].endPointX > 0){//check if previous measurement already detected rock
									  //check if this erck block isn't filled with another parameter from another rock.
									  if(rck[rockCount].endPointX <= x+MAX_DIFFERENCE_X && rck[rockCount].endPointX >= x-MAX_DIFFERENCE_X){//check if the axis don't differentiate too much
										  rck[rockCount].endPointX = x;
										  xAxisControl = 0;
									  }else{//If so than save it and wait till the algorithm for the next end also differentiate too much
										  if(xAxisControl == 1){//if both end differentiate too much then reset PointX values and calculate the final length
											  rck[rockCount].startPointX = 0;
											  rck[rockCount].endPointX = 0;

										  } else {//if only one end differentiate too much, it is consider still as one rock. the measurement continues
											  xAxisControl = 2;
											  rck[rockCount].endPointX = x;
										  }
									  }
								  } else {//If not then start new rock measurement
									  rck[rockCount].endPointX = x;
									  do{
										  //compare the value with the other values to check if there is an shift in rocks.
										  if(rockCount != rckControl){
											  if(rck[rckControl].endPointX <= rck[rockCount].endPointX+MAX_DIFFERENCE_X && rck[rckControl].endPointX >= rck[rockCount].endPointX+MAX_DIFFERENCE_X){
												  rck[rckControl].endPointX = x;
												  break;
											  }
										  }
										  rckControl++;
									  }while(rckControl <= 4);
									  if(rckControl >= 5){
										  rck[rockCount].endPointX = x;
									  }
									  rckControl = 0;
								  }
								  x++;
								  rockCount++;
								  status--;
								  statusTwo = 1;
							  }

							  /* calculate dimensions rock */
							  if(rockCount >= 1 && statusTwo == 1){
								  //A status variable to check if the stone is present or not
								  statusThree = 1;
								  statusThreeCounter = 0;
								  //width
								  widthTemp = startWidth - endWidth;
								  if(widthTemp > rck[rockCount-1].width){
									  rck[rockCount-1].width = widthTemp;
								  }
								  //height
								  for(int y = rck[rockCount-1].startPointX; y <= rck[rockCount-1].endPointX; y++){
									  heightTemp += LMS_dataArrayY[y];
									  heightCounter++;
								  }
								  heightTemp = BELT - (heightTemp/heightCounter);
								  if(heightTemp <= BELT){
									  if(heightTemp > rck[rockCount-1].height){
										  rck[rockCount-1].height = heightTemp;
									  }
								  } else {
									  rck[rockCount-1].height = 0;
								  }
								  heightTemp = 0;
								  heightCounter = 0;
								  //length
								  rck[rockCount-1].length += (speed*delta)/1000;
								  statusTwo = 0;
							  }
						  }
						  if(statusThree == 0){
							  statusThreeCounter++;
							  //if after 5 data cycles no rocks are detected, reset rock values
							  if(statusThreeCounter >= 5){
								  for(int i = 0; i < 5; i++){
									  rck[i].width = 0;
									  rck[i].height = 0;
									  rck[i].length = 0;
								  }
							  }
						  }
						  statusThree = 0;
						  rockCount = 0;
						  angle = 0;
						  /* Log all data points for matlab */
//						  for(int x = 0; x <= LMS_dataAmount-1; x++){
//							  if(x < LMS_dataAmount-1){
//								  sprintf((char *)UART_buf, "%d,", LMS_calcRawData[x]);
//								  HAL_UART_Transmit(&huart2, UART_buf, strlen(UART_buf), 1);
//							  } else if(x >= LMS_dataAmount-1) {
//								  sprintf((char *)UART_buf, "%d,,%d\r\n", LMS_calcRawData[x], (int)delta);
//								  HAL_UART_Transmit(&huart2, UART_buf, strlen(UART_buf), 1);
//							  }
//						  }
					  }
				  }
			  }
		}
	}
    osDelay(1);
  }
  // In case we accidentally leave loop
  osThreadTerminate(NULL);
  /* USER CODE END 5 */
}

void StartIO(void *argument)
{
  /* USER CODE BEGIN StartIO */
  char NMEArecv[6];

  int tempSpeed = 0;

  char LMS_state = '0';
  uint8_t LMS_dataCounter = 0;
  float flashArr[4];

  unsigned int resolutionConv = 0;
  unsigned int freqConv = 0;
  unsigned int startAngleConv = 0;
  unsigned int endAngleConv = 0;
  /* Infinite loop */
  for(;;)
  {
	  	lock = 1;
	  	reg_wizchip_cs_cbfunc(wizchip2_select, wizchip2_deselect);
		sprintf((char *)IO_buf, "%s,%.2f,%.2f,%.2f,%d,%d,%d\r\n", NMEA, measTemp, measAmpMax, measFreq, rck[0].height, rck[0].width, rck[0].length);
		if((retValIO = sendto(1, IO_buf, strlen(IO_buf), (uint8_t *)IO_IP, PORT)) < 0){
			//error handler
		}

		if(HAL_GPIO_ReadPin(GPIOC, GPIO_PIN_6) == GPIO_PIN_RESET){//check interrupt pin
			if((retValIO = recvfrom(1, IO_recv, sizeof(IO_recv), (uint8_t *)IO_IP, 0)) < 0){
				//error handler
			} else{
				for(int x = retValIO; x <= 50-1; x++){
					IO_recv[x] = 0;
				}
			}
			/* Reset interrupt pin after reading message */
			setSn_IR(1, 0x04);
			setSIR(0x00);
			sscanf((char *)IO_recv, " %[^,]", NMEArecv);
			if(strcmp((char *)NMEArecv, "$PVRSCD") == 0){
				sscanf((char *)IO_recv, "%[^,],%d", NMEArecv, &tempSpeed);
				if(tempSpeed != speed){
					speed = tempSpeed;
					//Run once for timeout handler
					Flash_Write_NUM(FLASH_SPEED, speed);
					//Save the values in the Flash
					Flash_Write_NUM(FLASH_SPEED, speed);
				}
			}else if(strcmp((char *)NMEArecv, "$PVRSCC") == 0){
				sscanf((char *)IO_recv, "%[^,],%d,%d,%f,%d", NMEArecv, &startAngle, &endAngle, &resolution, &freq);
				flashArr[0] = startAngle;
				flashArr[1] = endAngle;
				flashArr[2] = resolution;
				flashArr[3] = freq;
				//Run once for timeout handler.
				Flash_Write_Data(FLASH_PARAMETER, (uint32_t *)flashArr, sizeof(flashArr));
				//Save the values in the Flash
				Flash_Write_Data(FLASH_PARAMETER, (uint32_t *)flashArr, sizeof(flashArr));
				//configure 2D LiDAR sensor with the given parameters
				if(strcmp((char *)NMEArecv, "$PVRSCC") == 0){
					reg_wizchip_cs_cbfunc(wizchip1_select, wizchip1_deselect);
					if((retVal = socket(0, Sn_MR_TCP, 0, 0)) == 0){
						if((retVal = connect(0, (uint8_t *)LMS_IP, 2111)) == SOCK_OK){ //Open socket with LMS
							sprintf((char *)LMS_buf, "%c%s%c", 0x02, TELEGRAM_LOGIN, 0x03); //Create telegram to be sent to LMS (Ask for one datapacket)
							if((retVal = send(0, LMS_buf, strlen(LMS_buf))) <= 0){ //Send the Telegram to LMS
								//error handler
								for(;;);
							}
							if((retVal = recv(0, LMS_recv, sizeof(LMS_recv))) <= 0){ //Receive the data packet from the LMS
								//error handler
								for(;;);
							}

							/* configure setscan parameter LMS */
							freqConv = freq * 100;
							resolutionConv = resolution * 10000;
							sprintf((char *)LMS_buf, "%c%s %X %s %X %s%c", 0x02, TELEGRAM_SETSCAN_ONE, freqConv, TELEGRAM_SETSCAN_TWO, resolutionConv, TELEGRAM_SETSCAN_THREE, 0x03); //Create telegram to be sent to LMS (Ask for one datapacket)
							if((retVal = send(0, LMS_buf, strlen(LMS_buf))) <= 0){ //Send the Telegram to LMS
								//error handler
								for(;;);
							}
							if((retVal = recv(0, LMS_recv, sizeof(LMS_recv))) <= 0){ //Receive the data packet from the LMS
								//error handler
								for(;;);
							}

							/* configure output parameter LMS */
							startAngleConv = startAngle * 10000;
							endAngleConv = endAngle * 10000;
							sprintf((char *)LMS_buf, "%c%s %X %X%c", 0x02, TELEGRAM_OUTPUT_ONE, startAngleConv, endAngleConv, 0x03); //Create telegram to be sent to LMS (Ask for one datapacket)
							if((retVal = send(0, LMS_buf, strlen(LMS_buf))) <= 0){ //Send the Telegram to LMS
								//error handler
								for(;;);
							}
							if((retVal = recv(0, LMS_recv, sizeof(LMS_recv))) <= 0){ //Receive the data packet from the LMS
								//error handler
								for(;;);
							}

							sprintf((char *)LMS_buf, "%c%s%c", 0x02, TELEGRAM_CONFIGURE_FOUR, 0x03); //Create telegram to be sent to LMS (Ask for one datapacket)
							if((retVal = send(0, LMS_buf, strlen(LMS_buf))) <= 0){ //Send the Telegram to LMS
								//error handler
								for(;;);
							}
							if((retVal = recv(0, LMS_recv, sizeof(LMS_recv))) <= 0){ //Receive the data packet from the LMS
								//error handler
								for(;;);
							}

							sprintf((char *)LMS_buf, "%c%s%c", 0x02, TELEGRAM_STORE, 0x03); //Create telegram to be sent to LMS (Ask for one datapacket)
							if((retVal = send(0, LMS_buf, strlen(LMS_buf))) <= 0){ //Send the Telegram to LMS
								//error handler
								for(;;);
							}
							if((retVal = recv(0, LMS_recv, sizeof(LMS_recv))) <= 0){ //Receive the data packet from the LMS
								//error handler
								for(;;);
							}

							sprintf((char *)LMS_buf, "%c%s%c", 0x02, TELEGRAM_LOGOUT, 0x03); //Create telegram to be sent to LMS (Ask for one datapacket)
							if((retVal = send(0, LMS_buf, strlen(LMS_buf))) <= 0){ //Send the Telegram to LMS
								//error handler
								for(;;);
							}
							if((retVal = recv(0, LMS_recv, sizeof(LMS_recv))) <= 0){ //Receive the data packet from the LMS
								//error handler
								for(;;);
							}

							sprintf((char *)LMS_buf, "%c%s%c", 0x02, TELEGRAM_DEVICESTATE, 0x03);
							while(LMS_state != '1'){
								if((retVal = send(0, LMS_buf, strlen(LMS_buf))) <= 0){ //Send the Telegram to LMS
									//error handler
									for(;;);
								}
								if((retVal = recv(0, LMS_recv, sizeof(LMS_recv))) <= 0){ //Receive the data packet from the LMS
									//error handler
									for(;;);
								}
								for(int j = 0; j <= retVal-1; j++){
									if(LMS_recv[j] == 0x20){
										LMS_dataCounter++;
									}
									if(LMS_dataCounter == 2){
										j++;
										LMS_state = LMS_recv[j];
										LMS_dataCounter = 0;
										break;
									}
								}
							}
							LMS_state = '0';
							disconnect(0);
							close(0);
						}
					}
				}
				reg_wizchip_cs_cbfunc(wizchip2_select, wizchip2_deselect);
				close(1);
				if((retValIO = socket(1, Sn_MR_UDP, PORT, SF_IO_NONBLOCK)) != 1){
				  //error handler
				  while(1);
				}
			}
		}
		lock = 0;
		osDelay(1000);
  }
  // In case we accidentally leave loop
  osThreadTerminate(NULL);
  /* USER CODE END StartIO */
}

void StartHUM(void *argument)
{
  /* USER CODE BEGIN StartHUM */
	uint8_t I2C_recv[6];
	uint8_t I2C_trans[2];
	uint16_t val;

	float hum_rh;

	I2C_trans[0] = 0x2C;
	I2C_trans[1] = 0x06;
  /* Infinite loop */
  for(;;)
  {
	if((ret = HAL_I2C_Master_Transmit(&hi2c1, SHT31_ADDR, I2C_trans, 2, HAL_MAX_DELAY)) != HAL_OK){
		//error handler
	}
	if((ret = HAL_I2C_Master_Receive(&hi2c1, SHT31_ADDR, I2C_recv, 6, HAL_MAX_DELAY)) != HAL_OK){
		//error handler
	}
	val = I2C_recv[3] << 8 | I2C_recv[4];
	hum_rh = 100*(val/(pow(2,16)-1));
	if(hum_rh > 75){
		humAlertOne = 1;
	}
    osDelay(500);
  }
  // In case we accidentally leave loop
  osThreadTerminate(NULL);
  /* USER CODE END StartHUM */
}

void HAL_TIM_PeriodElapsedCallback(TIM_HandleTypeDef *htim)
{
  if (htim->Instance == TIM2) {
    HAL_IncTick();
  }
}

void Error_Handler(void)
{
  __disable_irq();
  while (1)
  {
  }
}
